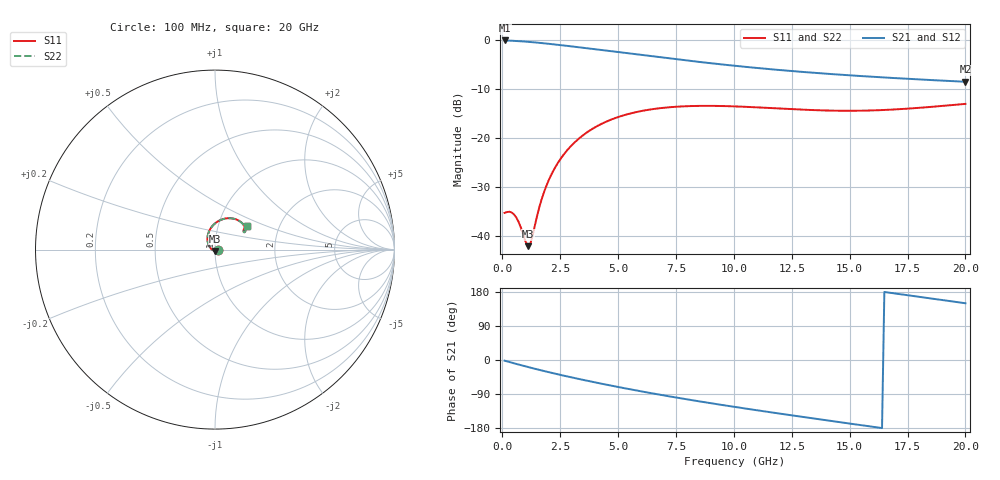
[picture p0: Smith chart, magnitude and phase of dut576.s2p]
! Touchstone file exported from HFSS 2024.1.0
!  File:  C:/UserFiles/LocalFiles/RDL_TSV_Batchsim/temp_RDL_TSV_576_1779755618.aedt
!  Generated:  08:47:48 AM May 26, 2026
!  Design:  RDL_TSV
!  Project:  temp_RDL_TSV_576_1779755618
!  Setup:  Setup1
!  Solution:  Sweep
! Variables:
!  dtsv = 9.03um
!  hbump = 3um
!  htsv = 70.26um
!  ldown = 274.26um
!  lrdl = 588.33um
!  p = 40
!  p1 = 42.37um
!  rhole = 10um
!  subl = 3176.1um
!  t = 450um
!  tdown = 3.44um
!  trdl = 2.51um
!  viad = 10um
!  wdown = 17.47um
!  wrdl = 29.58um
!  xbump = 18um
# GHz S MA R 50.000000
! Terminal data exported
! Port[1] = TM1_1_T1
! Port[2] = TM1_4_T1
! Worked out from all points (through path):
!   200 points, 100 MHz to 20 GHz, reference 50 ohm
!   highest |S21| = -0.15 dB at 100 MHz (marker M1); lowest = -8.6 dB at 20 GHz (marker M2)
!   group delay of S21, straight-line fit = 27.8 ps
!   lowest |S11| = -42.2 dB at 1.1 GHz (marker M3), VSWR 1.02, Z = 49.9 - j0.77 ohm
!   |S11| at or under -10 dB: start of sweep to end of sweep
!   |S22| runs from -42.2 to -13.1 dB; largest |S21 - S12| = 1.1e-14
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0.1  0.01704 -0.9  0.9825 -1.8  0.9825 -1.8  0.01704 -0.9
! Gamma 0 0 0 0
! Port Impedance 50 0 50 0
0.4  0.01722 -11.9  0.9762 -7.0  0.9762 -7.0  0.01722 -11.9
0.6  0.01533 -24.8  0.9705 -10.3  0.9705 -10.3  0.01534 -24.7
0.8  0.01212 -42.6  0.964 -13.5  0.964 -13.5  0.01214 -42.6
1  0.008713 -73.3  0.9566 -16.8  0.9566 -16.8  0.00873 -73.2
1.1  0.007786 -97.6  0.9525 -18.4  0.9525 -18.4  0.007796 -97.4
1.2  0.008106 -125.4  0.9482 -19.9  0.9482 -19.9  0.008101 -125.1
1.7  0.02349 165.6  0.9243 -27.6  0.9243 -27.6  0.02343 165.7
1.9  0.03202 154.7  0.9139 -30.6  0.9139 -30.6  0.03195 154.7
2.1  0.04106 146.2  0.9033 -33.5  0.9033 -33.5  0.04097 146.2
2.4  0.05513 135.9  0.887 -37.8  0.887 -37.8  0.05502 135.9
2.7  0.06942 127.2  0.8705 -41.9  0.8705 -41.9  0.0693 127.2
3.5  0.1063 108.4  0.8268 -52.6  0.8268 -52.6  0.1062 108.4
4.2  0.135 95.1  0.7895 -61.5  0.7895 -61.5  0.1348 95.1
4.9  0.1591 83.8  0.7533 -70.0  0.7533 -70.0  0.1589 83.8
6.8  0.1997 60.2  0.6624 -91.6  0.6624 -91.6  0.1995 60.2
8.4  0.2107 46.5  0.5969 -108.1  0.5969 -108.1  0.2106 46.5
10.1  0.2082 36.9  0.5398 -124.4  0.5398 -124.4  0.2082 36.9
11.7  0.1998 32.0  0.4967 -139.0  0.4967 -139.0  0.2 31.9
13.4  0.1912 30.5  0.4604 -153.9  0.4604 -153.9  0.1914 30.4
16.7  0.1925 34.2  0.4087 177.8  0.4087 177.8  0.1926 33.9
20  0.2211 36.1  0.372 149.8  0.372 149.8  0.2207 35.7
